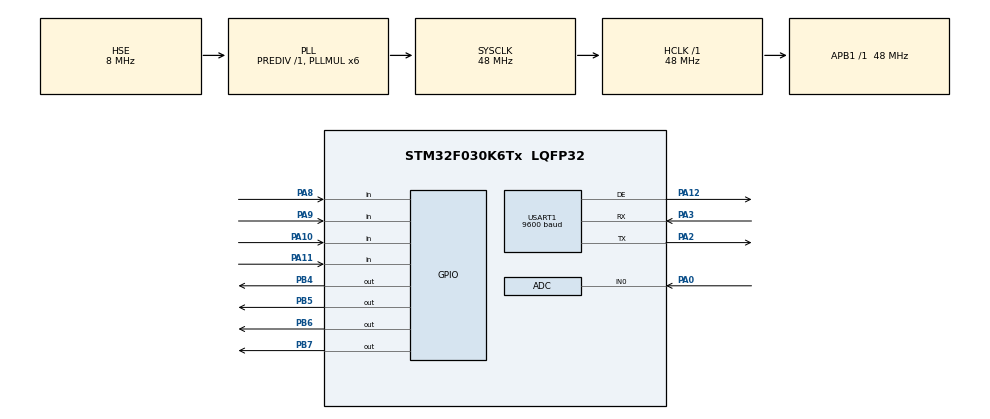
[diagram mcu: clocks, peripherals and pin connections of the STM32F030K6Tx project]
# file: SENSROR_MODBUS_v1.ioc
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ADC.ClockPrescaler=ADC_CLOCK_SYNC_PCLK_DIV4
ADC.DataAlign=ADC_DATAALIGN_RIGHT
ADC.SamplingTime=ADC_SAMPLETIME_28CYCLES_5
Dma.ADC.0.Direction=DMA_PERIPH_TO_MEMORY
Dma.ADC.0.Instance=DMA1_Channel1
Dma.ADC.0.MemDataAlignment=DMA_MDATAALIGN_WORD
Dma.ADC.0.MemInc=DMA_MINC_ENABLE
Dma.ADC.0.Mode=DMA_CIRCULAR
Dma.ADC.0.PeriphDataAlignment=DMA_PDATAALIGN_WORD
Dma.ADC.0.PeriphInc=DMA_PINC_DISABLE
Dma.ADC.0.Priority=DMA_PRIORITY_LOW
Dma.Request0=ADC
Dma.Request1=USART1_TX
Dma.USART1_TX.1.Direction=DMA_MEMORY_TO_PERIPH
Dma.USART1_TX.1.Instance=DMA1_Channel2
Dma.USART1_TX.1.MemDataAlignment=DMA_MDATAALIGN_BYTE
Dma.USART1_TX.1.MemInc=DMA_MINC_ENABLE
Dma.USART1_TX.1.Mode=DMA_NORMAL
Dma.USART1_TX.1.PeriphDataAlignment=DMA_PDATAALIGN_BYTE
Dma.USART1_TX.1.PeriphInc=DMA_PINC_DISABLE
Dma.USART1_TX.1.Priority=DMA_PRIORITY_LOW
Mcu.Family=STM32F0
Mcu.Name=STM32F030K6Tx
Mcu.Package=LQFP32
NVIC.ADC1_IRQn=true\:0\:0\:false\:false\:true\:true\:true\:true
NVIC.DMA1_Channel1_IRQn=true\:0\:0\:false\:false\:true\:false\:true\:true
NVIC.DMA1_Channel2_3_IRQn=true\:0\:0\:false\:false\:true\:false\:true\:true
NVIC.TIM3_IRQn=true\:0\:0\:false\:false\:true\:true\:true\:true
NVIC.USART1_IRQn=true\:0\:0\:false\:false\:true\:true\:true\:true
PA0.Mode=IN0
PA0.Signal=ADC_IN0
PA10.GPIO_PuPd=GPIO_PULLUP
PA10.Signal=GPIO_Input
PA11.GPIO_PuPd=GPIO_PULLUP
PA11.Signal=GPIO_Input
PA12.Mode=Hardware Flow Control (RS485)
PA12.Signal=USART1_DE
PA13.Mode=Serial_Wire
PA13.Signal=SYS_SWDIO
PA14.Mode=Serial_Wire
PA14.Signal=SYS_SWCLK
PA2.Mode=Asynchronous
PA2.Signal=USART1_TX
PA3.Mode=Asynchronous
PA3.Signal=USART1_RX
PA8.GPIO_PuPd=GPIO_PULLUP
PA8.Signal=GPIO_Input
PA9.GPIO_PuPd=GPIO_PULLUP
PA9.Signal=GPIO_Input
PB4.Signal=GPIO_Output
PB5.Signal=GPIO_Output
PB6.Signal=GPIO_Output
PB7.Signal=GPIO_Output
PF0-OSC_IN.Mode=HSE-External-Oscillator
PF0-OSC_IN.Signal=RCC_OSC_IN
PF1-OSC_OUT.Mode=HSE-External-Oscillator
PF1-OSC_OUT.Signal=RCC_OSC_OUT
ProjectManager.HeapSize=0x200
ProjectManager.StackSize=0x400
ProjectManager.TargetToolchain=STM32CubeIDE
RCC.AHBFreq_Value=48000000
RCC.APB1Freq_Value=48000000
RCC.APB1TimFreq_Value=48000000
RCC.HCLKFreq_Value=48000000
RCC.PLLMUL=RCC_PLL_MUL6
RCC.PLLSourceVirtual=RCC_PLLSOURCE_HSE
RCC.SYSCLKFreq_VALUE=48000000
RCC.SYSCLKSource=RCC_SYSCLKSOURCE_PLLCLK
TIM14.Period=251
TIM14.Prescaler=700
TIM3.AutoReloadPreload=TIM_AUTORELOAD_PRELOAD_ENABLE
TIM3.Period=940
TIM3.Prescaler=508
USART1.BaudRate=9600
USART1.VirtualMode-Asynchronous=VM_ASYNC
USART1.VirtualMode-Hardware\ Flow\ Control\ (RS485)=VM_ASYNC
VP_ADC_TempSens_Input.Mode=IN-TempSens
VP_ADC_Vref_Input.Mode=IN-Vrefint
VP_IWDG_VS_IWDG.Mode=IWDG_Activate
VP_TIM14_VS_ClockSourceINT.Mode=Enable_Timer
VP_TIM3_VS_ClockSourceINT.Mode=Internal
board=custom

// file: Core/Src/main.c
/* USER CODE BEGIN Header */
/**
 ******************************************************************************
 * @file           : main.c
 * @brief          : Main program body
 ******************************************************************************
 * @attention
 *
 * <h2><center>&copy; Copyright (c) 2021 STMicroelectronics.
 * All rights reserved.</center></h2>
 *
 * This software component is licensed by ST under BSD 3-Clause license,
 * the "License"; You may not use this file except in compliance with the
 * License. You may obtain a copy of the License at:
 *                        opensource.org/licenses/BSD-3-Clause
 *
 ******************************************************************************
 */
/* USER CODE END Header */
#include "main.h"

/* USER CODE BEGIN Includes */
#include <Ctrl/ADC.h>
#include <Ctrl/FLASH.h>
#include <Ctrl/GPIO.h>
#include <Ctrl/Timer.h>
#include <Modbus/RTU.h>
/* USER CODE END Includes */

ADC_HandleTypeDef hadc;
DMA_HandleTypeDef hdma_adc;

IWDG_HandleTypeDef hiwdg;

TIM_HandleTypeDef htim3;
TIM_HandleTypeDef htim14;

UART_HandleTypeDef huart1;
DMA_HandleTypeDef hdma_usart1_tx;

/* USER CODE BEGIN PV */
uint8_t g_RxData;
uint8_t g_AdcCmplted;
uint32_t au32AdcData[4];

/* USER CODE END PV */

void SystemClock_Config(void);
static void MX_GPIO_Init(void);
static void MX_DMA_Init(void);
static void MX_USART1_UART_Init(void);
static void MX_ADC_Init(void);
static void MX_TIM3_Init(void);
static void MX_IWDG_Init(void);
static void MX_TIM14_Init(void);

/* USER CODE BEGIN 0 */
void HAL_UART_RxCpltCallback(UART_HandleTypeDef *huart) {
	if (huart->Instance == huart1.Instance) {
		ModbusRcv(&g_MODBUS_RTU);
	}
}

void HAL_TIM_PeriodElapsedCallback(TIM_HandleTypeDef *htim) {
	if (htim->Instance == TIM3)
		tick5ms();
	if (htim->Instance == TIM14)
		ModbusTimeOut(&g_MODBUS_RTU);
}

void HAL_ADC_ConvCpltCallback(ADC_HandleTypeDef *hadc1) {
	if (hadc1->Instance == hadc.Instance) {
		HAL_ADC_Stop_DMA(&hadc);
		g_AdcCmplted = _TRUE;
	}
}
/* USER CODE END 0 */

int main(void)
{

  /* MCU Configuration--------------------------------------------------------*/

  /* Reset of all peripherals, Initializes the Flash interface and the Systick. */
  HAL_Init();

  /* Configure the system clock */
  SystemClock_Config();

  /* Initialize all configured peripherals */
  MX_GPIO_Init();
  MX_DMA_Init();
  MX_USART1_UART_Init();
  MX_ADC_Init();
  MX_TIM3_Init();
  MX_IWDG_Init();
  MX_TIM14_Init();
  /* USER CODE BEGIN 2 */
	initFlash();
	ModbusInit(&g_MODBUS_RTU, &huart1, &htim14, &g_RxData);
	HAL_ADCEx_Calibration_Start(&hadc);
	HAL_TIM_Base_Start_IT(&htim3);
  /* USER CODE END 2 */

  /* Infinite loop */
  /* USER CODE BEGIN WHILE */
	while (1) {
		HAL_IWDG_Refresh(&hiwdg);

		if (g_AdcCmplted == _TRUE) {
			AdcProcess(au32AdcData);
			g_AdcCmplted = _FALSE;
		}

		if (IsElapsed5ms() == _TRUE) {
			if (g_AdcCmplted == _FALSE)
				HAL_ADC_Start_DMA(&hadc, au32AdcData, 4);
			reset5ms();
		}

		if (IsElapsed500ms() == _TRUE) {
			togRDY();
			reset500ms();
		}

		if (g_MODBUS_RTU.m_u8RxState == CMPT) {
			ModbusFunc(&g_MODBUS_RTU);
			ModbusReset(&g_MODBUS_RTU);
		}

		if (g_MODBUS_RTU.m_n8WrFlag == _TRUE) {
				writeFlash();
				g_MODBUS_RTU.m_n8WrFlag = _FALSE;
		}
    /* USER CODE END WHILE */

	}
}

void SystemClock_Config(void)
{
  RCC_OscInitTypeDef RCC_OscInitStruct = {0};
  RCC_ClkInitTypeDef RCC_ClkInitStruct = {0};
  RCC_PeriphCLKInitTypeDef PeriphClkInit = {0};

  /** Initializes the RCC Oscillators according to the specified parameters
  * in the RCC_OscInitTypeDef structure.
  */
  RCC_OscInitStruct.OscillatorType = RCC_OSCILLATORTYPE_LSI|RCC_OSCILLATORTYPE_HSE;
  RCC_OscInitStruct.HSEState = RCC_HSE_ON;
  RCC_OscInitStruct.LSIState = RCC_LSI_ON;
  RCC_OscInitStruct.PLL.PLLState = RCC_PLL_ON;
  RCC_OscInitStruct.PLL.PLLSource = RCC_PLLSOURCE_HSE;
  RCC_OscInitStruct.PLL.PLLMUL = RCC_PLL_MUL6;
  RCC_OscInitStruct.PLL.PREDIV = RCC_PREDIV_DIV1;
  if (HAL_RCC_OscConfig(&RCC_OscInitStruct) != HAL_OK)
  {
    Error_Handler();
  }
  /** Initializes the CPU, AHB and APB buses clocks
  */
  RCC_ClkInitStruct.ClockType = RCC_CLOCKTYPE_HCLK|RCC_CLOCKTYPE_SYSCLK
                              |RCC_CLOCKTYPE_PCLK1;
  RCC_ClkInitStruct.SYSCLKSource = RCC_SYSCLKSOURCE_PLLCLK;
  RCC_ClkInitStruct.AHBCLKDivider = RCC_SYSCLK_DIV1;
  RCC_ClkInitStruct.APB1CLKDivider = RCC_HCLK_DIV1;

  if (HAL_RCC_ClockConfig(&RCC_ClkInitStruct, FLASH_LATENCY_1) != HAL_OK)
  {
    Error_Handler();
  }
  PeriphClkInit.PeriphClockSelection = RCC_PERIPHCLK_USART1;
  PeriphClkInit.Usart1ClockSelection = RCC_USART1CLKSOURCE_PCLK1;
  if (HAL_RCCEx_PeriphCLKConfig(&PeriphClkInit) != HAL_OK)
  {
    Error_Handler();
  }
}

static void MX_ADC_Init(void)
{

  ADC_ChannelConfTypeDef sConfig = {0};

  /** Configure the global features of the ADC (Clock, Resolution, Data Alignment and number of conversion)
  */
  hadc.Instance = ADC1;
  hadc.Init.ClockPrescaler = ADC_CLOCK_SYNC_PCLK_DIV4;
  hadc.Init.Resolution = ADC_RESOLUTION_12B;
  hadc.Init.DataAlign = ADC_DATAALIGN_RIGHT;
  hadc.Init.ScanConvMode = ADC_SCAN_DIRECTION_FORWARD;
  hadc.Init.EOCSelection = ADC_EOC_SINGLE_CONV;
  hadc.Init.LowPowerAutoWait = DISABLE;
  hadc.Init.LowPowerAutoPowerOff = DISABLE;
  hadc.Init.ContinuousConvMode = DISABLE;
  hadc.Init.DiscontinuousConvMode = DISABLE;
  hadc.Init.ExternalTrigConv = ADC_SOFTWARE_START;
  hadc.Init.ExternalTrigConvEdge = ADC_EXTERNALTRIGCONVEDGE_NONE;
  hadc.Init.DMAContinuousRequests = DISABLE;
  hadc.Init.Overrun = ADC_OVR_DATA_PRESERVED;
  if (HAL_ADC_Init(&hadc) != HAL_OK)
  {
    Error_Handler();
  }
  /** Configure for the selected ADC regular channel to be converted.
  */
  sConfig.Channel = ADC_CHANNEL_0;
  sConfig.Rank = ADC_RANK_CHANNEL_NUMBER;
  sConfig.SamplingTime = ADC_SAMPLETIME_28CYCLES_5;
  if (HAL_ADC_ConfigChannel(&hadc, &sConfig) != HAL_OK)
  {
    Error_Handler();
  }
  /** Configure for the selected ADC regular channel to be converted.
  */
  sConfig.Channel = ADC_CHANNEL_TEMPSENSOR;
  if (HAL_ADC_ConfigChannel(&hadc, &sConfig) != HAL_OK)
  {
    Error_Handler();
  }
  /** Configure for the selected ADC regular channel to be converted.
  */
  sConfig.Channel = ADC_CHANNEL_VREFINT;
  if (HAL_ADC_ConfigChannel(&hadc, &sConfig) != HAL_OK)
  {
    Error_Handler();
  }

}

static void MX_IWDG_Init(void)
{

  hiwdg.Instance = IWDG;
  hiwdg.Init.Prescaler = IWDG_PRESCALER_4;
  hiwdg.Init.Window = 4095;
  hiwdg.Init.Reload = 4095;
  if (HAL_IWDG_Init(&hiwdg) != HAL_OK)
  {
    Error_Handler();
  }

}

static void MX_TIM3_Init(void)
{

  TIM_ClockConfigTypeDef sClockSourceConfig = {0};
  TIM_MasterConfigTypeDef sMasterConfig = {0};

  htim3.Instance = TIM3;
  htim3.Init.Prescaler = 508;
  htim3.Init.CounterMode = TIM_COUNTERMODE_UP;
  htim3.Init.Period = 940;
  htim3.Init.ClockDivision = TIM_CLOCKDIVISION_DIV1;
  htim3.Init.AutoReloadPreload = TIM_AUTORELOAD_PRELOAD_ENABLE;
  if (HAL_TIM_Base_Init(&htim3) != HAL_OK)
  {
    Error_Handler();
  }
  sClockSourceConfig.ClockSource = TIM_CLOCKSOURCE_INTERNAL;
  if (HAL_TIM_ConfigClockSource(&htim3, &sClockSourceConfig) != HAL_OK)
  {
    Error_Handler();
  }
  sMasterConfig.MasterOutputTrigger = TIM_TRGO_RESET;
  sMasterConfig.MasterSlaveMode = TIM_MASTERSLAVEMODE_DISABLE;
  if (HAL_TIMEx_MasterConfigSynchronization(&htim3, &sMasterConfig) != HAL_OK)
  {
    Error_Handler();
  }

}

static void MX_TIM14_Init(void)
{

  htim14.Instance = TIM14;
  htim14.Init.Prescaler = 700;
  htim14.Init.CounterMode = TIM_COUNTERMODE_UP;
  htim14.Init.Period = 251;
  htim14.Init.ClockDivision = TIM_CLOCKDIVISION_DIV1;
  htim14.Init.AutoReloadPreload = TIM_AUTORELOAD_PRELOAD_DISABLE;
  if (HAL_TIM_Base_Init(&htim14) != HAL_OK)
  {
    Error_Handler();
  }

}

static void MX_USART1_UART_Init(void)
{

  huart1.Instance = USART1;
  huart1.Init.BaudRate = 9600;
  huart1.Init.WordLength = UART_WORDLENGTH_8B;
  huart1.Init.StopBits = UART_STOPBITS_1;
  huart1.Init.Parity = UART_PARITY_NONE;
  huart1.Init.Mode = UART_MODE_TX_RX;
  huart1.Init.HwFlowCtl = UART_HWCONTROL_NONE;
  huart1.Init.OverSampling = UART_OVERSAMPLING_16;
  huart1.Init.OneBitSampling = UART_ONE_BIT_SAMPLE_DISABLE;
  huart1.AdvancedInit.AdvFeatureInit = UART_ADVFEATURE_NO_INIT;
  if (HAL_RS485Ex_Init(&huart1, UART_DE_POLARITY_HIGH, 0, 0) != HAL_OK)
  {
    Error_Handler();
  }

}

static void MX_DMA_Init(void)
{

  /* DMA controller clock enable */
  __HAL_RCC_DMA1_CLK_ENABLE();

  /* DMA interrupt init */
  /* DMA1_Channel1_IRQn interrupt configuration */
  HAL_NVIC_SetPriority(DMA1_Channel1_IRQn, 0, 0);
  HAL_NVIC_EnableIRQ(DMA1_Channel1_IRQn);
  /* DMA1_Channel2_3_IRQn interrupt configuration */
  HAL_NVIC_SetPriority(DMA1_Channel2_3_IRQn, 0, 0);
  HAL_NVIC_EnableIRQ(DMA1_Channel2_3_IRQn);

}

static void MX_GPIO_Init(void)
{
  GPIO_InitTypeDef GPIO_InitStruct = {0};

  /* GPIO Ports Clock Enable */
  __HAL_RCC_GPIOF_CLK_ENABLE();
  __HAL_RCC_GPIOA_CLK_ENABLE();
  __HAL_RCC_GPIOB_CLK_ENABLE();

  /*Configure GPIO pin Output Level */
  HAL_GPIO_WritePin(GPIOB, GPIO_PIN_4|GPIO_PIN_5|GPIO_PIN_6|GPIO_PIN_7, GPIO_PIN_RESET);

  /*Configure GPIO pins : PA8 PA9 PA10 PA11 */
  GPIO_InitStruct.Pin = GPIO_PIN_8|GPIO_PIN_9|GPIO_PIN_10|GPIO_PIN_11;
  GPIO_InitStruct.Mode = GPIO_MODE_INPUT;
  GPIO_InitStruct.Pull = GPIO_PULLUP;
  HAL_GPIO_Init(GPIOA, &GPIO_InitStruct);

  /*Configure GPIO pins : PB4 PB5 PB6 PB7 */
  GPIO_InitStruct.Pin = GPIO_PIN_4|GPIO_PIN_5|GPIO_PIN_6|GPIO_PIN_7;
  GPIO_InitStruct.Mode = GPIO_MODE_OUTPUT_PP;
  GPIO_InitStruct.Pull = GPIO_NOPULL;
  GPIO_InitStruct.Speed = GPIO_SPEED_FREQ_LOW;
  HAL_GPIO_Init(GPIOB, &GPIO_InitStruct);

}

void Error_Handler(void)
{
	__disable_irq();
	while (1) {
	}
}

/************************ (C) COPYRIGHT STMicroelectronics *****END OF FILE****/
